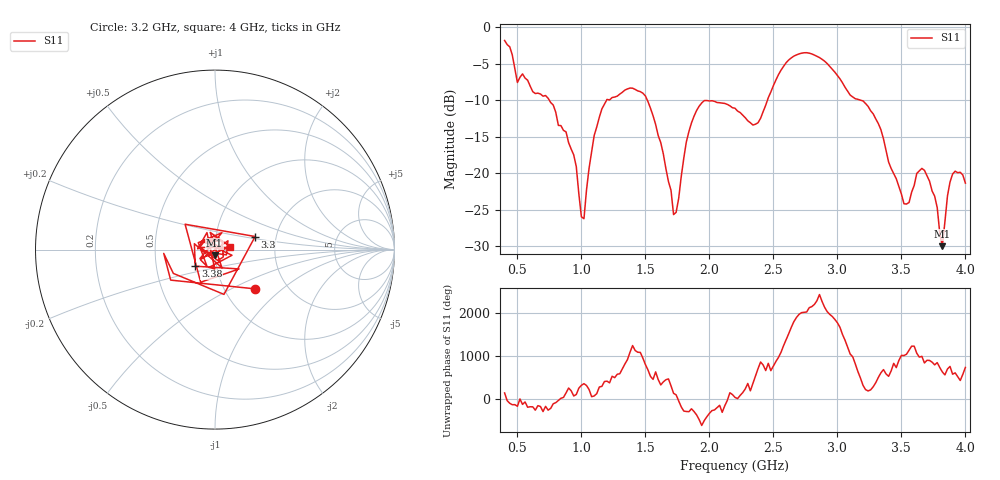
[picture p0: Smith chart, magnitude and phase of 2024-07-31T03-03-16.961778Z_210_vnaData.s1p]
!Created with skrf (http://scikit-rf.org).
# Hz S RI R 50.0
!freq ReS11 ImS11
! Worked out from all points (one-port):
!   181 points, 400 MHz to 4 GHz, reference 50 ohm
!   lowest |S11| = -30.0 dB at 3.82 GHz (marker M1), VSWR 1.07, Z = 49.7 - j3.15 ohm
!   |S11| at or under -10 dB: 748.7 MHz to 1.197 GHz (448.3 MHz wide, 46.1 % of centre); 1.515 GHz to 2.454 GHz (938.6 MHz wide, 47.3 % of centre); 3.179 GHz to end of sweep
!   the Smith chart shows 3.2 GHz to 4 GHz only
!   S11 on the Smith chart (normalised r, x): 3.2 GHz: 1.38, -0.67; 3.3 GHz: 1.55, +0.24; 3.38 GHz: 0.79, -0.15; 4 GHz: 1.18, +0.04
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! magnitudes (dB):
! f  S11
! 400 MHz  -1.8
! 500 MHz  -7.6
! 860 MHz  -14.1
! 940 MHz  -17.5
! 1.02 GHz  -26.2
! 1.06 GHz  -19.3
! 1.14 GHz  -12.3
! 1.3 GHz  -9.2
! 1.5 GHz  -9.4
! 1.62 GHz  -15.8
! 1.72 GHz  -25.6
! 1.76 GHz  -23.4
! 1.82 GHz  -15.7
! 1.92 GHz  -10.8
! 2.2 GHz  -11.1
! 2.38 GHz  -13.1
! 2.66 GHz  -4.0
! 2.88 GHz  -4.4
! 3.1 GHz  -9.3
! 3.2 GHz  -10.1
! 3.3 GHz  -12.6
! 3.38 GHz  -16.9
! 3.56 GHz  -24.0
! 3.68 GHz  -19.6
! 3.76 GHz  -23.1
! 3.82 GHz  -30.0
! 3.9 GHz  -20.1
! 4 GHz  -21.3
